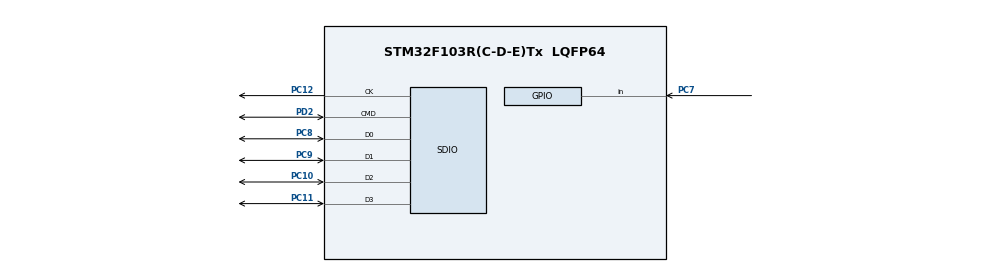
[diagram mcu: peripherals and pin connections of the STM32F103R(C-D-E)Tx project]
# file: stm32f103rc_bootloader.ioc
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Mcu.Family=STM32F1
RCC.PLLSourceVirtual=RCC_PLLSOURCE_HSE
FATFS0.BSP.STBoard=false
FATFS._USE_LFN=1
PD1-OSC_OUT.Mode=HSE-External-Oscillator
FATFS0.BSP.api=Unknown
VP_FATFS_VS_SDIO.Mode=SDIO
PC12.Signal=SDIO_CK
PC11.Signal=SDIO_D3
PC10.Signal=SDIO_D2
FATFS0.BSP.mode=Input
PC8.Signal=SDIO_D0
PC10.Mode=SD_4_bits_Wide_bus
PD0-OSC_IN.Signal=RCC_OSC_IN
RCC.APB1CLKDivider=RCC_HCLK_DIV2
RCC.SYSCLKSource=RCC_SYSCLKSOURCE_PLLCLK
ProjectManager.StackSize=0x800
PD1-OSC_OUT.Signal=RCC_OSC_OUT
FATFS0.BSP.instance=PC7
SDIO.ClockPowerSave=SDIO_CLOCK_POWER_SAVE_ENABLE
PA13.Signal=SYS_JTMS-SWDIO
ProjectManager.TargetToolchain=STM32CubeIDE
RCC.HCLKFreq_Value=72000000
RCC.APB2TimFreq_Value=72000000
PC7.Signal=GPIO_Input
RCC.USBFreq_Value=72000000
SDIO.ClockDiv=36
RCC.AHBFreq_Value=72000000
FATFS0.BSP.ip=GPIO
PD0-OSC_IN.Mode=HSE-External-Oscillator
FATFS.BSP.number=1
PD2.Mode=SD_4_bits_Wide_bus
PC12.Mode=SD_4_bits_Wide_bus
FATFS0.BSP.i2caddr=0
board=custom
RCC.PLLMUL=RCC_PLL_MUL9
RCC.APB2Freq_Value=72000000
PA14.Mode=Serial_Wire
PC9.Mode=SD_4_bits_Wide_bus
FATFS._USE_FIND=1
PA13.Mode=Serial_Wire
Mcu.Name=STM32F103R(C-D-E)Tx
FATFS._USE_LABEL=1
FATFS._MAX_SS=4096
PC8.Mode=SD_4_bits_Wide_bus
RCC.SYSCLKFreq_VALUE=72000000
Mcu.Package=LQFP64
FATFS0.BSP.solution=PC7
PA14.Signal=SYS_JTCK-SWCLK
ProjectManager.HeapSize=0x400
PC11.Mode=SD_4_bits_Wide_bus
NVIC.PriorityGroup=NVIC_PRIORITYGROUP_4
SDIO.HardwareFlowControl=SDIO_HARDWARE_FLOW_CONTROL_ENABLE
RCC.APB1TimFreq_Value=72000000
PC9.Signal=SDIO_D1
PD2.Signal=SDIO_CMD
RCC.APB1Freq_Value=36000000
FATFS0.BSP.name=Detect_SDIO

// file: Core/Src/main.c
/* USER CODE BEGIN Header */
/**
 ******************************************************************************
 * @file           : main.c
 * @brief          : Ender3 V2 with STM32F103RC cpu bootloader
 ******************************************************************************
 *
 * Free to use at own risk
 * by Walter Senekal
 *
 * V1.0
 * 14 May 2021
 * First release
 *
 * USAGE:
 * place the bin file in root of SD card (must have extension .bin)
 * the first bin file that it finds will be used in the root folder
 * it will rename the file to bin.old
 * this will prevent the bootloader from installing it every time the cpu restarts
 * e.g foo.bin will become foo.bin.old
 *
 ******************************************************************************
 */
/* USER CODE END Header */
#include "main.h"
#include "fatfs.h"

/* USER CODE BEGIN Includes */
#include <string.h>
#include <stdio.h>
#include <stdbool.h>
#include <stdint.h>
/* USER CODE END Includes */

/* USER CODE BEGIN PD */
#define BOOTLOADER_SIZE 0x7000U //must be in increments of FLASH_PAGE_SIZE
#define MAIN_APP_START_ADDR ( FLASH_BASE + BOOTLOADER_SIZE )//0x8007000U
#define FLASH_PAGES_PER_BANK 256
#define FLASH_PAGES_FOR_BOATLOADER (BOOTLOADER_SIZE / FLASH_PAGE_SIZE) //14

/* USER CODE END PD */

SD_HandleTypeDef hsd;
uint8_t sd_init_state = MSD_ERROR;

void
SystemClock_Config(void);
static void
MX_GPIO_Init(void);
static void
MX_SDIO_SD_Init(void);

/* USER CODE BEGIN 0 */

bool
EraseMainAppArea(void)
{
  bool bRetVal = true;
  FLASH_EraseInitTypeDef pEraseInit;
  uint32_t PageError;
  //Delete From Bank1
  pEraseInit.Banks = FLASH_BANK_1;
  //calculate how many pages from Bank1 to erase
  pEraseInit.NbPages = FLASH_PAGES_PER_BANK - FLASH_PAGES_FOR_BOATLOADER;
  pEraseInit.PageAddress = MAIN_APP_START_ADDR;
  pEraseInit.TypeErase = FLASH_TYPEERASE_PAGES;
  HAL_FLASH_Unlock();
  __HAL_FLASH_CLEAR_FLAG(FLASH_FLAG_OPTVERR);
  HAL_FLASHEx_Erase(&pEraseInit, &PageError);
  HAL_FLASH_Lock();
  return bRetVal;
}

bool
FindNewFirmware(char *filename)
{
  static FILINFO fno;
  bool bRetVal = false;
  FRESULT res;
  DIR dir;
  char path[256];
  memset(path, 0, 256);
  strcpy(path, SDPath);

  res = f_opendir(&dir, path); /* Open the directory */
  if (res == FR_OK)
  {
    for (;;)
    {
      res = f_readdir(&dir, &fno); /* Read a directory item */
      if (res != FR_OK || fno.fname[0] == 0)
        break; /* Break on error or end of dir */
      if ((fno.fattrib & AM_ARC) && (strlen(fno.fname) > 5) && ((strncmp(&fno.fname[strlen(fno.fname) - 4], ".bin", 4) == 0) || (strncmp(&fno.fname[strlen(fno.fname) - 4], ".BIN", 4) == 0)))
      { /* It is a .bin file */
        printf("/%s", fno.fname);
        strcpy(filename, fno.fname);
        bRetVal = true;
        break;
      }
    }
    f_closedir(&dir);
  }

  return bRetVal;
}

bool
FlashWrite(uint32_t address,
           uint64_t data)
{
  bool bRetVal = true;
  bRetVal = bRetVal && (HAL_FLASH_Program(FLASH_TYPEPROGRAM_DOUBLEWORD, address, data) == HAL_OK);
  bRetVal = bRetVal && (*(uint64_t*) address == data);
  return bRetVal;
}

bool
RenameFile(char *filename)
{
  char new_filename[128];
  strcpy(new_filename, filename);
  strcat(new_filename, ".old");
  return (f_rename(filename, new_filename) == FR_OK);
}

bool
LoadNewFirmware(char *filename)
{
  FIL BinFile;
  FRESULT fr;
  bool bRetVal = true;

  //Open the Bin file to be loaded
  bRetVal = bRetVal && (f_open(&BinFile, filename, FA_READ) == FR_OK);
  //Clear the User Application space, if file was loaded up
  bRetVal = bRetVal && EraseMainAppArea();
  if (bRetVal)
  {
    uint32_t flash_ptr = MAIN_APP_START_ADDR;
    uint64_t data;
    UINT num = 0;
    /* Unlock flash */
    HAL_FLASH_Unlock();
    do
    {
      //lets start with empty data
      data = 0xFFFFFFFFFFFFFFFF;
      fr = f_read(&BinFile, &data, 8, &num);
      if (num)
      {
        bRetVal = FlashWrite(flash_ptr, data);
        flash_ptr += 8;
      }
    }
    while ((fr == FR_OK) && (num > 0) && bRetVal);
    HAL_FLASH_Lock();
    f_close(&BinFile);
    bRetVal = bRetVal && RenameFile(filename);
  }

  return bRetVal;
}

void
StartMainApplication()
{
  void (*app_reset_handler)(void);
  uint32_t msp_value = *(volatile uint32_t*) MAIN_APP_START_ADDR;
  __disable_irq();
  __set_MSP(msp_value);
  uint32_t resethandler_address = *(volatile uint32_t*) (MAIN_APP_START_ADDR + 4);
  app_reset_handler = (void*) resethandler_address;
  app_reset_handler();
}

/* USER CODE END 0 */

int
main(void)
{

  /* MCU Configuration--------------------------------------------------------*/

  /* Reset of all peripherals, Initializes the Flash interface and the Systick. */
  HAL_Init();

  /* Configure the system clock */
  SystemClock_Config();

  /* Initialize all configured peripherals */
  MX_GPIO_Init();
  MX_SDIO_SD_Init();
  MX_FATFS_Init();
  /* USER CODE BEGIN 2 */

  //if SD card is initualized, we will check for firmware file
  if (sd_init_state == MSD_OK)
  {
    bool bAllGood = true;
    char filename[128];
    //Mount the SD card
    bAllGood = bAllGood && (f_mount(&SDFatFS, (TCHAR const*) SDPath, 1) == FR_OK);
    //if SD card is mounted, check for new fw file
    bAllGood = bAllGood && FindNewFirmware(filename);
    //If we have new Firmware, install it
    bAllGood = bAllGood && LoadNewFirmware(filename);
    //Be Nice and unmount SD card
    f_mount(&SDFatFS, (TCHAR const*) NULL, 0);
  }
  //Jump to main application
  StartMainApplication();

  /* USER CODE END 2 */

  /* Infinite loop */
  /* USER CODE BEGIN WHILE */
  while (1)
  {
    //We will never get here
    __NOP();
    /* USER CODE END WHILE */

  }
}

void
SystemClock_Config(void)
{
  RCC_OscInitTypeDef RCC_OscInitStruct =
  { 0 };
  RCC_ClkInitTypeDef RCC_ClkInitStruct =
  { 0 };

  /** Initializes the RCC Oscillators according to the specified parameters
   * in the RCC_OscInitTypeDef structure.
   */
  RCC_OscInitStruct.OscillatorType = RCC_OSCILLATORTYPE_HSE;
  RCC_OscInitStruct.HSEState = RCC_HSE_ON;
  RCC_OscInitStruct.HSEPredivValue = RCC_HSE_PREDIV_DIV1;
  RCC_OscInitStruct.HSIState = RCC_HSI_ON;
  RCC_OscInitStruct.PLL.PLLState = RCC_PLL_ON;
  RCC_OscInitStruct.PLL.PLLSource = RCC_PLLSOURCE_HSE;
  RCC_OscInitStruct.PLL.PLLMUL = RCC_PLL_MUL9;
  if (HAL_RCC_OscConfig(&RCC_OscInitStruct) != HAL_OK)
  {
    Error_Handler();
  }
  /** Initializes the CPU, AHB and APB buses clocks
   */
  RCC_ClkInitStruct.ClockType = RCC_CLOCKTYPE_HCLK | RCC_CLOCKTYPE_SYSCLK | RCC_CLOCKTYPE_PCLK1 | RCC_CLOCKTYPE_PCLK2;
  RCC_ClkInitStruct.SYSCLKSource = RCC_SYSCLKSOURCE_PLLCLK;
  RCC_ClkInitStruct.AHBCLKDivider = RCC_SYSCLK_DIV1;
  RCC_ClkInitStruct.APB1CLKDivider = RCC_HCLK_DIV2;
  RCC_ClkInitStruct.APB2CLKDivider = RCC_HCLK_DIV1;

  if (HAL_RCC_ClockConfig(&RCC_ClkInitStruct, FLASH_LATENCY_2) != HAL_OK)
  {
    Error_Handler();
  }
}

static void
MX_SDIO_SD_Init(void)
{

  hsd.Instance = SDIO;
  hsd.Init.ClockEdge = SDIO_CLOCK_EDGE_RISING;
  hsd.Init.ClockBypass = SDIO_CLOCK_BYPASS_DISABLE;
  hsd.Init.ClockPowerSave = SDIO_CLOCK_POWER_SAVE_ENABLE;
  hsd.Init.BusWide = SDIO_BUS_WIDE_1B;
  hsd.Init.HardwareFlowControl = SDIO_HARDWARE_FLOW_CONTROL_ENABLE;
  hsd.Init.ClockDiv = 36;
  /* USER CODE BEGIN SDIO_Init 2 */
  //Set the sd_init_state, it will indicate if SD card present
  sd_init_state = BSP_SD_Init();
  /* USER CODE END SDIO_Init 2 */

}

static void
MX_GPIO_Init(void)
{
  GPIO_InitTypeDef GPIO_InitStruct =
  { 0 };

  /* GPIO Ports Clock Enable */
  __HAL_RCC_GPIOD_CLK_ENABLE();
  __HAL_RCC_GPIOC_CLK_ENABLE();
  __HAL_RCC_GPIOA_CLK_ENABLE();

  /*Configure GPIO pin : PC7 */
  GPIO_InitStruct.Pin = GPIO_PIN_7;
  GPIO_InitStruct.Mode = GPIO_MODE_INPUT;
  GPIO_InitStruct.Pull = GPIO_NOPULL;
  HAL_GPIO_Init(GPIOC, &GPIO_InitStruct);

}

void
Error_Handler(void)
{
  __disable_irq();
  while (1)
  {
  }
}

/************************ (C) COPYRIGHT STMicroelectronics *****END OF FILE****/
